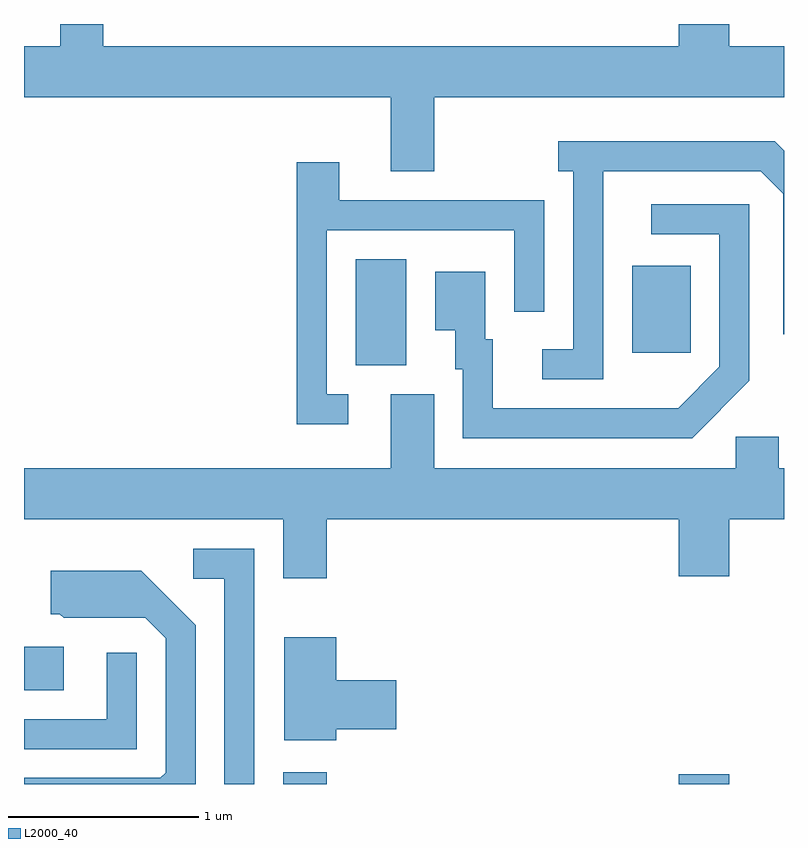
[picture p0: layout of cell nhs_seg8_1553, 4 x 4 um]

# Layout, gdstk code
import gdstk
lib = gdstk.Library(unit=1e-6, precision=1e-09)
def R(c, l, rs):  # rectangles x0, y0, x1, y1
    for r in rs: c.add(gdstk.rectangle(r[:2], r[2:], *l))
def P(c, l, *ps):  # polygons
    for p in ps: c.add(gdstk.Polygon(p, *l))
L2000_40 = (2000, 40)

nhs_seg8_1553 = lib.new_cell('nhs_seg8_1553')
R(nhs_seg8_1553, L2000_40, [(232.976,1848.342,233.204,1848.404), (235.056,1848.342,235.324,1848.394), (231.611,1848.836,231.819,1849.064), (233.356,1850.546,233.624,1851.104), (234.811,1850.611,235.119,1851.069)])
P(nhs_seg8_1553, L2000_40, [(233.769,1851.956),(235.611,1851.956),(235.611,1852.224),(235.324,1852.224),(235.324,1852.342),(235.056,1852.342),(235.056,1852.224),(232.029,1852.224),(232.029,1852.342),(231.801,1852.342),(231.801,1852.224),(231.611,1852.224),(231.611,1851.956),(233.541,1851.956),(233.541,1851.566),(233.769,1851.566)],
  [(234.659,1851.566),(235.489,1851.566),(235.606,1851.449),(235.606,1850.708),(235.611,1850.708),(235.611,1851.675),(235.562,1851.724),(234.423,1851.724),(234.423,1851.566),(234.501,1851.566),(234.501,1850.629),(234.338,1850.629),(234.338,1850.471),(234.659,1850.471)],
  [(233.318,1850.394),(233.204,1850.394),(233.204,1851.256),(234.191,1851.256),(234.191,1850.828),(234.349,1850.828),(234.349,1851.414),(233.269,1851.414),(233.269,1851.614),(233.046,1851.614),(233.046,1850.236),(233.318,1850.236)],
  [(235.429,1850.464),(235.429,1851.394),(234.913,1851.394),(234.913,1851.236),(235.271,1851.236),(235.271,1850.537),(235.054,1850.319),(234.079,1850.319),(234.079,1850.684),(234.039,1850.684),(234.039,1851.039),(233.776,1851.039),(233.776,1850.731),(233.881,1850.731),(233.881,1850.526),(233.921,1850.526),(233.921,1850.161),(235.127,1850.161)],
  [(235.056,1849.436),(235.324,1849.436),(235.324,1849.736),(235.611,1849.736),(235.611,1850.004),(235.584,1850.004),(235.584,1850.169),(235.356,1850.169),(235.356,1850.004),(233.769,1850.004),(233.769,1850.394),(233.541,1850.394),(233.541,1850.004),(231.611,1850.004),(231.611,1849.736),(232.976,1849.736),(232.976,1849.426),(233.204,1849.426),(233.204,1849.736),(235.056,1849.736)],
  [(232.824,1849.579),(232.503,1849.579),(232.503,1849.421),(232.666,1849.421),(232.666,1848.342),(232.824,1848.342)],
  [(232.514,1849.177),(232.227,1849.464),(231.751,1849.464),(231.751,1849.236),(231.799,1849.236),(231.819,1849.216),(232.249,1849.216),(232.356,1849.109),(232.356,1848.402),(232.329,1848.374),(231.611,1848.374),(231.611,1848.342),(232.514,1848.342)],
  [(233.254,1848.631),(233.569,1848.631),(233.569,1848.889),(233.254,1848.889),(233.254,1849.114),(232.981,1849.114),(232.981,1848.571),(233.254,1848.571)],
  [(232.204,1849.033),(232.046,1849.033),(232.046,1848.684),(231.611,1848.684),(231.611,1848.526),(232.204,1848.526)])

lib.write_gds('nhs_seg8_1553.gds')
